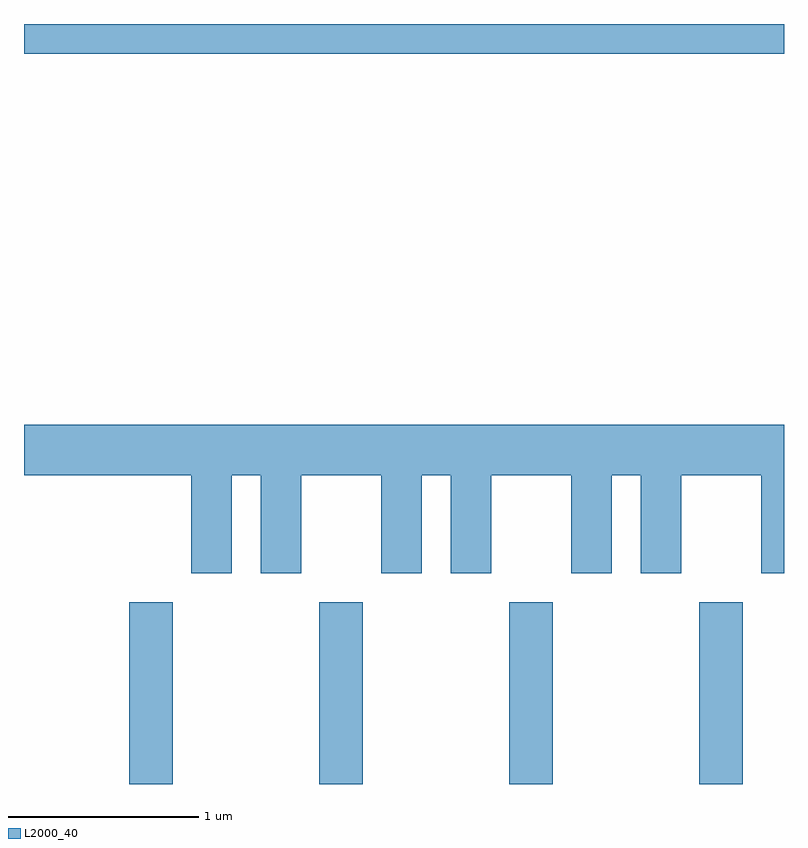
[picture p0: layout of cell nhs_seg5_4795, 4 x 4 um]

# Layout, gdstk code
import gdstk
lib = gdstk.Library(unit=1e-6, precision=1e-09)
def R(c, l, rs):  # rectangles x0, y0, x1, y1
    for r in rs: c.add(gdstk.rectangle(r[:2], r[2:], *l))
def A(c, l, x, y, w, h, nx, ny, dx, dy):  # array of equal rectangles
    R(c, l, [(x+i*dx, y+j*dy, x+i*dx+w, y+j*dy+h) for i in range(nx) for j in range(ny)])
def P(c, l, *ps):  # polygons
    for p in ps: c.add(gdstk.Polygon(p, *l))
L2000_40 = (2000, 40)

nhs_seg5_4795 = lib.new_cell('nhs_seg5_4795')
A(nhs_seg5_4795, L2000_40, 328.166, 1444.072, 0.228, 0.957, 4, 1, 1, 0)
R(nhs_seg5_4795, L2000_40, [(327.611,1447.916,331.611,1448.072)])
P(nhs_seg5_4795, L2000_40, [(327.611,1445.696),(328.491,1445.696),(328.491,1445.181),(328.704,1445.181),(328.704,1445.696),(328.856,1445.696),(328.856,1445.181),(329.069,1445.181),(329.069,1445.696),(329.491,1445.696),(329.491,1445.181),(329.704,1445.181),(329.704,1445.696),(329.856,1445.696),(329.856,1445.181),(330.069,1445.181),(330.069,1445.696),(330.491,1445.696),(330.491,1445.181),(330.704,1445.181),(330.704,1445.696),(330.856,1445.696),(330.856,1445.181),(331.069,1445.181),(331.069,1445.696),(331.491,1445.696),(331.491,1445.181),(331.611,1445.181),(331.611,1445.964),(327.611,1445.964)])

lib.write_gds('nhs_seg5_4795.gds')
